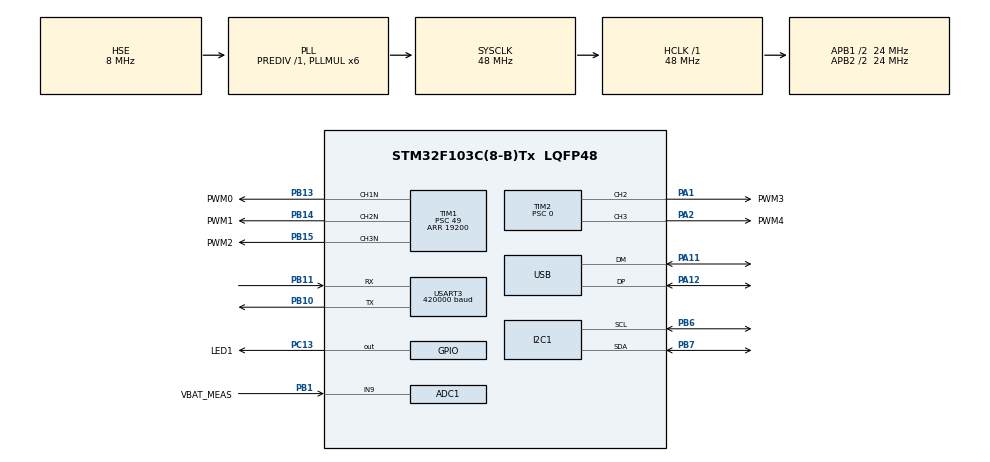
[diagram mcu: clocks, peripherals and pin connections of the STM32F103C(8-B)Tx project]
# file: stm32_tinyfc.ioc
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ADC1.Channel-1\#ChannelRegularConversion=ADC_CHANNEL_9
ADC1.NbrOfConversionFlag=1
ADC1.Rank-1\#ChannelRegularConversion=1
ADC1.SamplingTime-1\#ChannelRegularConversion=ADC_SAMPLETIME_1CYCLE_5
ADC1.master=1
I2C1.I2C_Mode=I2C_Fast
Mcu.Family=STM32F1
Mcu.Name=STM32F103C(8-B)Tx
Mcu.Package=LQFP48
NVIC.PriorityGroup=NVIC_PRIORITYGROUP_4
NVIC.USART3_IRQn=true\:0\:0\:false\:false\:true\:true\:true\:true
NVIC.USB_LP_CAN1_RX0_IRQn=true\:0\:0\:false\:false\:true\:false\:true\:true
PA1.GPIO_Label=PWM3
PA1.Signal=S_TIM2_CH2
PA11.Mode=Device
PA11.Signal=USB_DM
PA12.Mode=Device
PA12.Signal=USB_DP
PA13.Mode=Serial_Wire
PA13.Signal=SYS_JTMS-SWDIO
PA14.Mode=Serial_Wire
PA14.Signal=SYS_JTCK-SWCLK
PA2.GPIO_Label=PWM4
PA2.Signal=S_TIM2_CH3
PB1.GPIO_Label=VBAT_MEAS
PB1.Signal=ADCx_IN9
PB10.Mode=Asynchronous
PB10.Signal=USART3_TX
PB11.Mode=Asynchronous
PB11.Signal=USART3_RX
PB13.GPIO_Label=PWM0
PB13.Mode=PWM Generation1 CH1N
PB13.Signal=TIM1_CH1N
PB14.GPIO_Label=PWM1
PB14.Mode=PWM Generation2 CH2N
PB14.Signal=TIM1_CH2N
PB15.GPIO_Label=PWM2
PB15.Mode=PWM Generation3 CH3N
PB15.Signal=TIM1_CH3N
PB6.Mode=I2C
PB6.Signal=I2C1_SCL
PB7.Mode=I2C
PB7.Signal=I2C1_SDA
PC13-TAMPER-RTC.GPIO_Label=LED1
PC13-TAMPER-RTC.GPIO_PuPd=GPIO_PULLDOWN
PC13-TAMPER-RTC.Signal=GPIO_Output
PD0-OSC_IN.Mode=HSE-External-Oscillator
PD0-OSC_IN.Signal=RCC_OSC_IN
PD1-OSC_OUT.Mode=HSE-External-Oscillator
PD1-OSC_OUT.Signal=RCC_OSC_OUT
ProjectManager.HeapSize=0x200
ProjectManager.StackSize=0x400
ProjectManager.TargetToolchain=CMake
RCC.AHBFreq_Value=48000000
RCC.APB1CLKDivider=RCC_HCLK_DIV2
RCC.APB1Freq_Value=24000000
RCC.APB1TimFreq_Value=48000000
RCC.APB2CLKDivider=RCC_HCLK_DIV2
RCC.APB2Freq_Value=24000000
RCC.APB2TimFreq_Value=48000000
RCC.HCLKFreq_Value=48000000
RCC.HSICalibrationValue=8
RCC.PLLMUL=RCC_PLL_MUL6
RCC.SYSCLKFreq_VALUE=48000000
RCC.SYSCLKSource=RCC_SYSCLKSOURCE_PLLCLK
RCC.USBFreq_Value=48000000
SH.ADCx_IN9.0=ADC1_IN9,IN9
SH.S_TIM2_CH2.0=TIM2_CH2,PWM Generation2 CH2
SH.S_TIM2_CH3.0=TIM2_CH3,PWM Generation3 CH3
TIM1.Channel-PWM\ Generation1\ CH1N=TIM_CHANNEL_1
TIM1.Channel-PWM\ Generation2\ CH2N=TIM_CHANNEL_2
TIM1.Channel-PWM\ Generation3\ CH3N=TIM_CHANNEL_3
TIM1.Period=19200
TIM1.Prescaler=49
TIM1.Pulse-PWM\ Generation1\ CH1N=1920
TIM1.Pulse-PWM\ Generation2\ CH2N=1920
TIM1.Pulse-PWM\ Generation3\ CH3N=1920
TIM2.Channel-PWM\ Generation2\ CH2=TIM_CHANNEL_2
TIM2.Channel-PWM\ Generation3\ CH3=TIM_CHANNEL_3
TIM2.Period=23999
TIM2.Prescaler=0
TIM2.Pulse-PWM\ Generation2\ CH2=6000
TIM2.Pulse-PWM\ Generation3\ CH3=600
USART3.BaudRate=420000
USART3.VirtualMode=VM_ASYNC
USB_DEVICE.CLASS_NAME_FS=CDC
USB_DEVICE.USBD_SELF_POWERED=0
USB_DEVICE.VirtualMode=Cdc
USB_DEVICE.VirtualModeFS=Cdc_FS
VP_TIM1_VS_ClockSourceINT.Mode=Internal
VP_TIM2_VS_ClockSourceINT.Mode=Internal
VP_TIM3_VS_ClockSourceINT.Mode=Internal
VP_USB_DEVICE_VS_USB_DEVICE_CDC_FS.Mode=CDC_FS
board=custom

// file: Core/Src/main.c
/* USER CODE BEGIN Header */
/**
  ******************************************************************************
  * @file           : main.c
  * @brief          : Main program body
  ******************************************************************************
  * @attention
  *
  * Copyright (c) 2026 STMicroelectronics.
  * All rights reserved.
  *
  * This software is licensed under terms that can be found in the LICENSE file
  * in the root directory of this software component.
  * If no LICENSE file comes with this software, it is provided AS-IS.
  *
  ******************************************************************************
  */
/* USER CODE END Header */
#include "main.h"
#include "usb_device.h"

/* USER CODE BEGIN Includes */
#include <stdint.h>
#include <math.h>
#include <stdbool.h>

#include "main_conf.h"
#include "tinyfc_types.h"
#include "crsf.h"
#include "crsf_parser.h"
#include "heli_mixer.h"
#include "usbd_cdc_if.h"
#include "utils.h"
/* USER CODE END Includes */

/* USER CODE BEGIN PTD */
typedef struct {
  uint8_t buffer[UART3_RX_BUFFER_SIZE];
  volatile uint16_t head;
  volatile uint16_t tail;
} uart_buffer_t;

enum pit_mode_t {
  PIT_MODE_OFF = 0,
  PIT_MODE_ON = 1,
} pit_mode = PIT_MODE_OFF;

enum led_state_t {
  LED_STATE_OFF = 0,
  LED_STATE_ON = 1,
} status_led_state = LED_STATE_OFF;

enum led_blink_state_t {
  LED_BLINK_WAITING = 0,
  LED_BLINK_PRE_OFF = 1,
  LED_BLINK_ON = 2,
  LED_BLINK_POST_OFF = 3,
} led_blink_state = LED_BLINK_WAITING;
/* USER CODE END PTD */

ADC_HandleTypeDef hadc1;

I2C_HandleTypeDef hi2c1;

TIM_HandleTypeDef htim1;
TIM_HandleTypeDef htim2;
TIM_HandleTypeDef htim3;

UART_HandleTypeDef huart3;

/* USER CODE BEGIN PV */
crsf_parser_t crsf_parser;
uart_buffer_t uart3_rb = {0};
uint8_t *uart3_rx_char;

crsf_frame_link_stats_t radio_link_stats;
uint32_t radio_link_stats_last_update = UINT32_MAX;

uint16_t received_crsf_channels[CRSF_CHANNEL_COUNT];
 int16_t mixer_input_channels[MIXER_INPUT_CHANNEL_COUNT];
uint16_t output_actuator_channels[ACTUATOR_CHANNEL_COUNT];

int16_t previous_rotor_throttle = -NORM_RANGE;

enum flight_mode_t flight_mode = FLIGHT_MODE_DIRECT;

uint8_t armed = false;
uint8_t pre_armed = false;
uint8_t arm_blocked = true;

uint8_t led_blinks = 0;
uint32_t led_blink_time_next_change = 0;

/* USER CODE END PV */

void SystemClock_Config(void);
static void MX_GPIO_Init(void);
static void MX_TIM2_Init(void);
static void MX_USART3_UART_Init(void);
static void MX_TIM3_Init(void);
static void MX_ADC1_Init(void);
static void MX_TIM1_Init(void);
static void MX_I2C1_Init(void);
/* USER CODE BEGIN PFP */
void enable_status_led();
void disable_status_led();
void set_status_led(enum led_state_t state);
void add_blinks(uint8_t blinks);
void send_debug_message(char *name, uint8_t name_length, uint8_t id, int16_t value);
void set_PWM0_duty(uint16_t duty_cycle_hundredths);
void set_PWM1_duty(uint16_t duty_cycle_hundredths);
void set_PWM2_duty(uint16_t duty_cycle_hundredths);
void set_PWM3_duty(uint16_t pulse);
void set_PWM4_duty(uint16_t pulse);
//uint16_t get_PWM0_duty();
//uint16_t get_PWM1_duty();
//uint16_t get_PWM2_duty();
//uint16_t get_PWM3_duty();
//uint16_t get_PWM4_duty();
void update_PWM();
void update_Oneshot125();
void on_crsf_frame(uint8_t type,
                   uint8_t dest_addr, // 0 for non-extended frames
                   uint8_t orig_addr, // 0 for non-extended frames
                   const uint8_t *payload,
                   uint8_t payload_len);
/* USER CODE END PFP */

int main(void)
{

  /* MCU Configuration--------------------------------------------------------*/

  /* Reset of all peripherals, Initializes the Flash interface and the Systick. */
  HAL_Init();

  /* Configure the system clock */
  SystemClock_Config();

  /* Initialize all configured peripherals */
  MX_GPIO_Init();
  MX_TIM2_Init();
  MX_USART3_UART_Init();
  MX_USB_DEVICE_Init();
  MX_TIM3_Init();
  MX_ADC1_Init();
  MX_TIM1_Init();
  MX_I2C1_Init();
  /* USER CODE BEGIN 2 */
  set_status_led(LED_STATE_OFF);

  set_PWM0_duty(PWM_MID);
  set_PWM1_duty(PWM_MID);
  set_PWM2_duty(PWM_MID);
  set_PWM3_duty(ONESHOT125_DISARMED);
  set_PWM4_duty(ONESHOT125_DISARMED);

  HAL_TIM_PWM_Start(&htim1, TIM_CHANNEL_1);
  HAL_TIM_PWM_Start(&htim1, TIM_CHANNEL_2);
  HAL_TIM_PWM_Start(&htim1, TIM_CHANNEL_3);

  HAL_TIMEx_PWMN_Start(&htim1, TIM_CHANNEL_1);
  HAL_TIMEx_PWMN_Start(&htim1, TIM_CHANNEL_2);
  HAL_TIMEx_PWMN_Start(&htim1, TIM_CHANNEL_3);

  HAL_TIM_PWM_Start(&htim2, TIM_CHANNEL_2);
  HAL_TIM_PWM_Start(&htim2, TIM_CHANNEL_3);

  crsf_parser_init(&crsf_parser, CRSF_ADDRESS_FC, on_crsf_frame);

  uart3_rx_char = (uint8_t *)malloc(8);
  HAL_UART_Receive_IT(&huart3, uart3_rx_char, 8);

  uint32_t last_pwm_update = HAL_GetTick();

  memset(received_crsf_channels, 0, sizeof(received_crsf_channels));

  output_actuator_channels[ACTUATOR_SWASH_LEFT]  = PWM_MID;
  output_actuator_channels[ACTUATOR_SWASH_RIGHT] = PWM_MID;
  output_actuator_channels[ACTUATOR_SWASH_AFT]   = PWM_MID;
  output_actuator_channels[ACTUATOR_MAIN_ROTOR]  = ONESHOT125_DISARMED;
  output_actuator_channels[ACTUATOR_TAIL_ROTOR]  = ONESHOT125_DISARMED;

  uint8_t init_msg[] = "HELI FC Started up!\r\n";
  CDC_Transmit_FS(init_msg, sizeof(init_msg) - 1);

  add_blinks(2);
  /* USER CODE END 2 */

  /* Infinite loop */
  /* USER CODE BEGIN WHILE */

  // ReSharper disable once CppDFAEndlessLoop
  while (1) {

    const uint32_t current_tick = HAL_GetTick();

    // Process received data from CSRF/UART3
    if (uart3_rb.head != uart3_rb.tail)
    {
      const uint16_t available = (uart3_rb.head - uart3_rb.tail + UART3_RX_BUFFER_SIZE) % UART3_RX_BUFFER_SIZE;

      if (available > 0)
      {
        uint8_t temp_buffer[UART3_RX_BUFFER_SIZE];
        uint16_t read_len = 0;

        // Extract data from ring buffer
        while (uart3_rb.tail != uart3_rb.head && read_len < available)
        {
          temp_buffer[read_len++] = uart3_rb.buffer[uart3_rb.tail];
          uart3_rb.tail = (uart3_rb.tail + 1) % UART3_RX_BUFFER_SIZE;
        }

        // Feed to CRSF parser
        crsf_parser_feed(&crsf_parser, temp_buffer, read_len);
      }
    }

    // Handle periodic PWM update
    if (current_tick - last_pwm_update > PWM_UPDATE_PERIOD_MS) {
      last_pwm_update = current_tick;
      update_mixer(mixer_input_channels, output_actuator_channels, flight_mode);
      update_PWM();
      update_Oneshot125();
    }

    // Handle LED blinking
    switch (led_blink_state) {
      default:
      case LED_BLINK_WAITING:
        if (led_blinks > 0) {
          led_blinks--;
          led_blink_state = LED_BLINK_PRE_OFF;
          set_status_led(LED_STATE_OFF);
          led_blink_time_next_change = current_tick + BLINK_TIME;
        }
        break;
      case LED_BLINK_PRE_OFF:
        if (current_tick >= led_blink_time_next_change) {
          led_blink_state = LED_BLINK_ON;
          set_status_led(LED_STATE_ON);
          led_blink_time_next_change = current_tick + BLINK_TIME * 2;
        }
        break;
      case LED_BLINK_ON:
        if (current_tick >= led_blink_time_next_change) {
          led_blink_state = LED_BLINK_POST_OFF;
          set_status_led(LED_STATE_OFF);
          led_blink_time_next_change = current_tick + BLINK_TIME;
        }
        break;
      case LED_BLINK_POST_OFF:
        if (current_tick >= led_blink_time_next_change) {
          led_blink_state = LED_BLINK_WAITING;
          set_status_led(status_led_state);
        }
        break;
    }

    if (arm_blocked) {
      if (led_blinks == 0) { led_blinks = 1; }
    }

//    if (current_tick % 1000 == 0) {
//      CDC_Transmit_FS((uint8_t *)"DEBUG", 5);
//
//      for (uint8_t i = 0; i < CRSF_CHANNEL_COUNT; i++) {
//        send_debug_message("RADIO", 5, i, (int16_t) received_crsf_channels[i]);
//      }
//      for (uint8_t i = 0; i < PWM_CHANNEL_COUNT; i++) {
//        send_debug_message("PWM  ", 5, i, (int16_t) current_pwm_channels[i]);
//      }
//
//      send_debug_message("LINK LASTMES", 12, 0, (int16_t) (current_tick - radio_link_stats_last_update));
//      send_debug_message("LINK SNR UP ", 12, 1, (int16_t) radio_link_stats.snr_uplink_db);
//      send_debug_message("LINK RSS UP1", 12, 2, (int16_t) radio_link_stats.rssi_uplink_ant1_dbm);
//      send_debug_message("LINK RSS UP2", 12, 3, (int16_t) radio_link_stats.rssi_uplink_ant2_dbm);
//      send_debug_message("LINK QLY UP ", 12, 4, (int16_t) radio_link_stats.link_quality_percentage_uplink);
//      send_debug_message("LINK SNR DW ", 12, 5, (int16_t) radio_link_stats.snr_downlink_db);
//      send_debug_message("LINK RSS DW ", 12, 6, (int16_t) radio_link_stats.rssi_downlink_dbm);
//      send_debug_message("LINK QLY DW ", 12, 7, (int16_t) radio_link_stats.link_quality_percentage_downlink);
//
//      send_debug_message("ARMED", 5, 0, (int16_t) armed);
//      send_debug_message("BLOCK", 5, 1, (int16_t) arm_blocked);
//
//      CDC_Transmit_FS((uint8_t *)"\r\n\r\n\r\n", 6);
//
//    }
    /* USER CODE END WHILE */

  }
}

void SystemClock_Config(void)
{
  RCC_OscInitTypeDef RCC_OscInitStruct = {0};
  RCC_ClkInitTypeDef RCC_ClkInitStruct = {0};
  RCC_PeriphCLKInitTypeDef PeriphClkInit = {0};

  /** Initializes the RCC Oscillators according to the specified parameters
  * in the RCC_OscInitTypeDef structure.
  */
  RCC_OscInitStruct.OscillatorType = RCC_OSCILLATORTYPE_HSE;
  RCC_OscInitStruct.HSEState = RCC_HSE_ON;
  RCC_OscInitStruct.HSEPredivValue = RCC_HSE_PREDIV_DIV1;
  RCC_OscInitStruct.HSIState = RCC_HSI_ON;
  RCC_OscInitStruct.PLL.PLLState = RCC_PLL_ON;
  RCC_OscInitStruct.PLL.PLLSource = RCC_PLLSOURCE_HSE;
  RCC_OscInitStruct.PLL.PLLMUL = RCC_PLL_MUL6;
  if (HAL_RCC_OscConfig(&RCC_OscInitStruct) != HAL_OK)
  {
    Error_Handler();
  }

  /** Initializes the CPU, AHB and APB buses clocks
  */
  RCC_ClkInitStruct.ClockType = RCC_CLOCKTYPE_HCLK|RCC_CLOCKTYPE_SYSCLK
                              |RCC_CLOCKTYPE_PCLK1|RCC_CLOCKTYPE_PCLK2;
  RCC_ClkInitStruct.SYSCLKSource = RCC_SYSCLKSOURCE_PLLCLK;
  RCC_ClkInitStruct.AHBCLKDivider = RCC_SYSCLK_DIV1;
  RCC_ClkInitStruct.APB1CLKDivider = RCC_HCLK_DIV2;
  RCC_ClkInitStruct.APB2CLKDivider = RCC_HCLK_DIV2;

  if (HAL_RCC_ClockConfig(&RCC_ClkInitStruct, FLASH_LATENCY_1) != HAL_OK)
  {
    Error_Handler();
  }
  PeriphClkInit.PeriphClockSelection = RCC_PERIPHCLK_ADC|RCC_PERIPHCLK_USB;
  PeriphClkInit.AdcClockSelection = RCC_ADCPCLK2_DIV2;
  PeriphClkInit.UsbClockSelection = RCC_USBCLKSOURCE_PLL;
  if (HAL_RCCEx_PeriphCLKConfig(&PeriphClkInit) != HAL_OK)
  {
    Error_Handler();
  }
}

static void MX_ADC1_Init(void)
{

  ADC_ChannelConfTypeDef sConfig = {0};

  /** Common config
  */
  hadc1.Instance = ADC1;
  hadc1.Init.ScanConvMode = ADC_SCAN_DISABLE;
  hadc1.Init.ContinuousConvMode = DISABLE;
  hadc1.Init.DiscontinuousConvMode = DISABLE;
  hadc1.Init.ExternalTrigConv = ADC_SOFTWARE_START;
  hadc1.Init.DataAlign = ADC_DATAALIGN_RIGHT;
  hadc1.Init.NbrOfConversion = 1;
  if (HAL_ADC_Init(&hadc1) != HAL_OK)
  {
    Error_Handler();
  }

  /** Configure Regular Channel
  */
  sConfig.Channel = ADC_CHANNEL_9;
  sConfig.Rank = ADC_REGULAR_RANK_1;
  sConfig.SamplingTime = ADC_SAMPLETIME_1CYCLE_5;
  if (HAL_ADC_ConfigChannel(&hadc1, &sConfig) != HAL_OK)
  {
    Error_Handler();
  }

}

static void MX_I2C1_Init(void)
{

  hi2c1.Instance = I2C1;
  hi2c1.Init.ClockSpeed = 400000;
  hi2c1.Init.DutyCycle = I2C_DUTYCYCLE_2;
  hi2c1.Init.OwnAddress1 = 0;
  hi2c1.Init.AddressingMode = I2C_ADDRESSINGMODE_7BIT;
  hi2c1.Init.DualAddressMode = I2C_DUALADDRESS_DISABLE;
  hi2c1.Init.OwnAddress2 = 0;
  hi2c1.Init.GeneralCallMode = I2C_GENERALCALL_DISABLE;
  hi2c1.Init.NoStretchMode = I2C_NOSTRETCH_DISABLE;
  if (HAL_I2C_Init(&hi2c1) != HAL_OK)
  {
    Error_Handler();
  }

}

static void MX_TIM1_Init(void)
{

  TIM_ClockConfigTypeDef sClockSourceConfig = {0};
  TIM_MasterConfigTypeDef sMasterConfig = {0};
  TIM_OC_InitTypeDef sConfigOC = {0};
  TIM_BreakDeadTimeConfigTypeDef sBreakDeadTimeConfig = {0};

  htim1.Instance = TIM1;
  htim1.Init.Prescaler = 49;
  htim1.Init.CounterMode = TIM_COUNTERMODE_UP;
  htim1.Init.Period = 19200;
  htim1.Init.ClockDivision = TIM_CLOCKDIVISION_DIV1;
  htim1.Init.RepetitionCounter = 0;
  htim1.Init.AutoReloadPreload = TIM_AUTORELOAD_PRELOAD_DISABLE;
  if (HAL_TIM_Base_Init(&htim1) != HAL_OK)
  {
    Error_Handler();
  }
  sClockSourceConfig.ClockSource = TIM_CLOCKSOURCE_INTERNAL;
  if (HAL_TIM_ConfigClockSource(&htim1, &sClockSourceConfig) != HAL_OK)
  {
    Error_Handler();
  }
  if (HAL_TIM_PWM_Init(&htim1) != HAL_OK)
  {
    Error_Handler();
  }
  sMasterConfig.MasterOutputTrigger = TIM_TRGO_RESET;
  sMasterConfig.MasterSlaveMode = TIM_MASTERSLAVEMODE_DISABLE;
  if (HAL_TIMEx_MasterConfigSynchronization(&htim1, &sMasterConfig) != HAL_OK)
  {
    Error_Handler();
  }
  sConfigOC.OCMode = TIM_OCMODE_PWM1;
  sConfigOC.Pulse = 1920;
  sConfigOC.OCPolarity = TIM_OCPOLARITY_HIGH;
  sConfigOC.OCNPolarity = TIM_OCNPOLARITY_HIGH;
  sConfigOC.OCFastMode = TIM_OCFAST_DISABLE;
  sConfigOC.OCIdleState = TIM_OCIDLESTATE_RESET;
  sConfigOC.OCNIdleState = TIM_OCNIDLESTATE_RESET;
  if (HAL_TIM_PWM_ConfigChannel(&htim1, &sConfigOC, TIM_CHANNEL_1) != HAL_OK)
  {
    Error_Handler();
  }
  if (HAL_TIM_PWM_ConfigChannel(&htim1, &sConfigOC, TIM_CHANNEL_2) != HAL_OK)
  {
    Error_Handler();
  }
  if (HAL_TIM_PWM_ConfigChannel(&htim1, &sConfigOC, TIM_CHANNEL_3) != HAL_OK)
  {
    Error_Handler();
  }
  sBreakDeadTimeConfig.OffStateRunMode = TIM_OSSR_DISABLE;
  sBreakDeadTimeConfig.OffStateIDLEMode = TIM_OSSI_DISABLE;
  sBreakDeadTimeConfig.LockLevel = TIM_LOCKLEVEL_OFF;
  sBreakDeadTimeConfig.DeadTime = 0;
  sBreakDeadTimeConfig.BreakState = TIM_BREAK_DISABLE;
  sBreakDeadTimeConfig.BreakPolarity = TIM_BREAKPOLARITY_HIGH;
  sBreakDeadTimeConfig.AutomaticOutput = TIM_AUTOMATICOUTPUT_DISABLE;
  if (HAL_TIMEx_ConfigBreakDeadTime(&htim1, &sBreakDeadTimeConfig) != HAL_OK)
  {
    Error_Handler();
  }
  HAL_TIM_MspPostInit(&htim1);

}

static void MX_TIM2_Init(void)
{

  TIM_ClockConfigTypeDef sClockSourceConfig = {0};
  TIM_MasterConfigTypeDef sMasterConfig = {0};
  TIM_OC_InitTypeDef sConfigOC = {0};

  htim2.Instance = TIM2;
  htim2.Init.Prescaler = 0;
  htim2.Init.CounterMode = TIM_COUNTERMODE_UP;
  htim2.Init.Period = 23999;
  htim2.Init.ClockDivision = TIM_CLOCKDIVISION_DIV1;
  htim2.Init.AutoReloadPreload = TIM_AUTORELOAD_PRELOAD_DISABLE;
  if (HAL_TIM_Base_Init(&htim2) != HAL_OK)
  {
    Error_Handler();
  }
  sClockSourceConfig.ClockSource = TIM_CLOCKSOURCE_INTERNAL;
  if (HAL_TIM_ConfigClockSource(&htim2, &sClockSourceConfig) != HAL_OK)
  {
    Error_Handler();
  }
  if (HAL_TIM_PWM_Init(&htim2) != HAL_OK)
  {
    Error_Handler();
  }
  sMasterConfig.MasterOutputTrigger = TIM_TRGO_RESET;
  sMasterConfig.MasterSlaveMode = TIM_MASTERSLAVEMODE_DISABLE;
  if (HAL_TIMEx_MasterConfigSynchronization(&htim2, &sMasterConfig) != HAL_OK)
  {
    Error_Handler();
  }
  sConfigOC.OCMode = TIM_OCMODE_PWM1;
  sConfigOC.Pulse = 6000;
  sConfigOC.OCPolarity = TIM_OCPOLARITY_HIGH;
  sConfigOC.OCFastMode = TIM_OCFAST_DISABLE;
  if (HAL_TIM_PWM_ConfigChannel(&htim2, &sConfigOC, TIM_CHANNEL_2) != HAL_OK)
  {
    Error_Handler();
  }
  sConfigOC.Pulse = 600;
  if (HAL_TIM_PWM_ConfigChannel(&htim2, &sConfigOC, TIM_CHANNEL_3) != HAL_OK)
  {
    Error_Handler();
  }
  HAL_TIM_MspPostInit(&htim2);

}

static void MX_TIM3_Init(void)
{

  TIM_ClockConfigTypeDef sClockSourceConfig = {0};
  TIM_MasterConfigTypeDef sMasterConfig = {0};

  htim3.Instance = TIM3;
  htim3.Init.Prescaler = 0;
  htim3.Init.CounterMode = TIM_COUNTERMODE_UP;
  htim3.Init.Period = 65535;
  htim3.Init.ClockDivision = TIM_CLOCKDIVISION_DIV1;
  htim3.Init.AutoReloadPreload = TIM_AUTORELOAD_PRELOAD_DISABLE;
  if (HAL_TIM_Base_Init(&htim3) != HAL_OK)
  {
    Error_Handler();
  }
  sClockSourceConfig.ClockSource = TIM_CLOCKSOURCE_INTERNAL;
  if (HAL_TIM_ConfigClockSource(&htim3, &sClockSourceConfig) != HAL_OK)
  {
    Error_Handler();
  }
  sMasterConfig.MasterOutputTrigger = TIM_TRGO_RESET;
  sMasterConfig.MasterSlaveMode = TIM_MASTERSLAVEMODE_DISABLE;
  if (HAL_TIMEx_MasterConfigSynchronization(&htim3, &sMasterConfig) != HAL_OK)
  {
    Error_Handler();
  }

}

static void MX_USART3_UART_Init(void)
{

  huart3.Instance = USART3;
  huart3.Init.BaudRate = 420000;
  huart3.Init.WordLength = UART_WORDLENGTH_8B;
  huart3.Init.StopBits = UART_STOPBITS_1;
  huart3.Init.Parity = UART_PARITY_NONE;
  huart3.Init.Mode = UART_MODE_TX_RX;
  huart3.Init.HwFlowCtl = UART_HWCONTROL_NONE;
  huart3.Init.OverSampling = UART_OVERSAMPLING_16;
  if (HAL_UART_Init(&huart3) != HAL_OK)
  {
    Error_Handler();
  }

}

static void MX_GPIO_Init(void)
{
  GPIO_InitTypeDef GPIO_InitStruct = {0};

  /* GPIO Ports Clock Enable */
  __HAL_RCC_GPIOC_CLK_ENABLE();
  __HAL_RCC_GPIOD_CLK_ENABLE();
  __HAL_RCC_GPIOA_CLK_ENABLE();
  __HAL_RCC_GPIOB_CLK_ENABLE();

  /*Configure GPIO pin Output Level */
  HAL_GPIO_WritePin(LED1_GPIO_Port, LED1_Pin, GPIO_PIN_RESET);

  /*Configure GPIO pin : LED1_Pin */
  GPIO_InitStruct.Pin = LED1_Pin;
  GPIO_InitStruct.Mode = GPIO_MODE_OUTPUT_PP;
  GPIO_InitStruct.Pull = GPIO_PULLDOWN;
  GPIO_InitStruct.Speed = GPIO_SPEED_FREQ_LOW;
  HAL_GPIO_Init(LED1_GPIO_Port, &GPIO_InitStruct);

}

/* USER CODE BEGIN 4 */
// LED FUNCTIONS
void enable_status_led() {
  status_led_state = LED_STATE_ON;
  set_status_led(status_led_state);
}
void disable_status_led() {
  status_led_state = LED_STATE_OFF;
  set_status_led(status_led_state);
}
void set_status_led(enum led_state_t state) {
  if (state == LED_STATE_ON) {
    HAL_GPIO_WritePin(LED1_GPIO_Port, LED1_Pin, GPIO_PIN_RESET);
  } else {
    HAL_GPIO_WritePin(LED1_GPIO_Port, LED1_Pin, GPIO_PIN_SET);
  }
}
void add_blinks(const uint8_t blinks) {
  led_blinks += blinks;
}

// DEBUG USB
void send_debug_message(char *name, const uint8_t name_length, const uint8_t id, const int16_t value) {
  uint8_t *message = malloc(name_length + 2 + 3 + 3 + 5 + 2);
  sprintf((char *)message, "%s (%u): %d\r\n", name, id, value);
  CDC_Transmit_FS(message, name_length + 2 + 3 + 5 + 2);
  free(message);
}

/**
  * PWM FUNCTIONS
  * @brief Set PWM duty cycle with 0.01% resolution
  * @param duty_cycle_hundredths: Duty cycle in hundredths of a percent (e.g., 1000 = 10.00%)
  * @retval None
  */
void set_PWM0_duty(const uint16_t duty_cycle_hundredths)
{
  const uint32_t pulse = (19200UL * duty_cycle_hundredths) / 10000UL;
  __HAL_TIM_SET_COMPARE(&htim1, TIM_CHANNEL_1, 19200UL - pulse);
}
void set_PWM1_duty(const uint16_t duty_cycle_hundredths)
{
  const uint32_t pulse = (19200UL * duty_cycle_hundredths) / 10000UL;
  __HAL_TIM_SET_COMPARE(&htim1, TIM_CHANNEL_2, 19200UL - pulse);
}
void set_PWM2_duty(const uint16_t duty_cycle_hundredths)
{
  const uint32_t pulse = (19200UL * duty_cycle_hundredths) / 10000UL;
  __HAL_TIM_SET_COMPARE(&htim1, TIM_CHANNEL_3, 19200UL - pulse);
}
void set_PWM3_duty(const uint16_t pulse)
{
  __HAL_TIM_SET_COMPARE(&htim2, TIM_CHANNEL_2, (uint32_t) pulse);
}
void set_PWM4_duty(const uint16_t pulse)
{
  __HAL_TIM_SET_COMPARE(&htim2, TIM_CHANNEL_3, (uint32_t) pulse);
}
//uint16_t get_PWM0_duty()
//{
//  uint16_t pulse = (10000UL * __HAL_TIM_GET_COMPARE(&htim2, TIM_CHANNEL_2)) / 19200UL;
//  return pulse;
//}
//uint16_t get_PWM1_duty()
//{
//  uint16_t pulse = (10000UL * __HAL_TIM_GET_COMPARE(&htim2, TIM_CHANNEL_3)) / 19200UL;
//  return pulse;
//}
//uint16_t get_PWM2_duty()
//{
//  uint16_t pulse = (10000UL * __HAL_TIM_GET_COMPARE(&htim2, TIM_CHANNEL_4)) / 19200UL;
//  return pulse;
//}
//uint16_t get_PWM3_duty()
//{
//  uint16_t pulse = (10000UL * __HAL_TIM_GET_COMPARE(&htim3, TIM_CHANNEL_1)) / 19200UL;
//  return pulse;
//}
//uint16_t get_PWM4_duty()
//{
//  uint16_t pulse = (10000UL * __HAL_TIM_GET_COMPARE(&htim3, TIM_CHANNEL_2)) / 19200UL;
//  return pulse;
//}

void update_PWM() {

  // LIMITS
  for (uint8_t i = 0; i < PWM_CHANNEL_COUNT; i++) {
    if (output_actuator_channels[i] < PWM_MIN) { output_actuator_channels[i] = PWM_MIN; }
    if (output_actuator_channels[i] > PWM_MAX) { output_actuator_channels[i] = PWM_MAX; }
  }

  // SWASHPLATE SERVOS
  set_PWM0_duty(output_actuator_channels[ACTUATOR_SWASH_LEFT]);
  set_PWM1_duty(output_actuator_channels[ACTUATOR_SWASH_RIGHT]);
  set_PWM2_duty(output_actuator_channels[ACTUATOR_SWASH_AFT]);

}

void update_Oneshot125() {

  // LIMITS
  for (uint8_t i = PWM_CHANNEL_COUNT - 1; i < OS1_CHANNEL_COUNT; i++) {
    if (output_actuator_channels[i] < ONESHOT125_MIN) { output_actuator_channels[i] = ONESHOT125_MIN; }
    if (output_actuator_channels[i] > ONESHOT125_MAX) { output_actuator_channels[i] = ONESHOT125_MAX; }
  }

  if (armed) {
    set_PWM3_duty(output_actuator_channels[ACTUATOR_MAIN_ROTOR]);
    set_PWM4_duty(output_actuator_channels[ACTUATOR_TAIL_ROTOR]);
  } else {
    set_PWM3_duty(ONESHOT125_DISARMED);
    set_PWM4_duty(ONESHOT125_DISARMED);
  }
}

uint8_t ready_to_arm() {

  if (received_crsf_channels[CRSF_CHANNEL_THROTTLE] > CRSF_MIN + 50) {
    arm_blocked = true;
  }

  if (   radio_link_stats_last_update > HAL_GetTick()
      || radio_link_stats_last_update + MAX_RADIO_STATS_AGE < HAL_GetTick()) {
    arm_blocked = true;
  } else {
    if (radio_link_stats.link_quality_percentage_uplink < MIN_LINK_QLY) {
      arm_blocked = true;
    }
  }

  return !arm_blocked;
}

void update_channels() {
  // AUXILIARY ACTIONS
  if (received_crsf_channels[CRSF_CHANNEL_PREARM] < CRSF_MID) {
    pre_armed = false;
  }

  if (received_crsf_channels[CRSF_CHANNEL_ARM] <= CRSF_MID) {
    if (armed) {
      armed = false;
      disarm_mixer();
      disable_status_led();
    } else {
      if (received_crsf_channels[CRSF_CHANNEL_PREARM] > CRSF_MID) {
        pre_armed = true;
      }
      if (arm_blocked) {
        arm_blocked = false;
        ready_to_arm();
      }
    }
  } else if (received_crsf_channels[CRSF_CHANNEL_ARM] > CRSF_MID) {
    if (!armed && pre_armed && ready_to_arm()) {
      reset_mixer();
      armed = true;
      enable_status_led();
    }
  }

  if        (   received_crsf_channels[CRSF_CHANNEL_FLIGHT_MODE] <= CRSF_ONE_THIRD) {
    if (flight_mode != FLIGHT_MODE_DIRECT) {
      flight_mode = FLIGHT_MODE_DIRECT;
      add_blinks(1);
    }
  } else if (   received_crsf_channels[CRSF_CHANNEL_FLIGHT_MODE] >  CRSF_ONE_THIRD
             && received_crsf_channels[CRSF_CHANNEL_FLIGHT_MODE] <= CRSF_TWO_THIRD) {
    if (flight_mode != FLIGHT_MODE_RATE) {
      // NOT YET IMPLEMENTED
      add_blinks(5);
      flight_mode = FLIGHT_MODE_RATE;
    }
  } else if (   received_crsf_channels[CRSF_CHANNEL_FLIGHT_MODE] >  CRSF_TWO_THIRD) {
    if (flight_mode != FLIGHT_MODE_ANGLE) {
      // NOT YET IMPLEMENTED
      add_blinks(5);
      flight_mode = FLIGHT_MODE_ANGLE;
    }
  }

  if        (received_crsf_channels[CRSF_CHANNEL_PIT_MODE] <= CRSF_MID) {
    if (pit_mode != PIT_MODE_OFF) {
      pit_mode = PIT_MODE_OFF;
      add_blinks(2);
    }
  } else if (received_crsf_channels[CRSF_CHANNEL_PIT_MODE] > CRSF_MID) {
    if (pit_mode != PIT_MODE_ON) {
      pit_mode = PIT_MODE_ON;
      add_blinks(2);

    }
  }

  // HELI MIXER

  // INPUTS

  mixer_input_channels[INPUT_CHANNEL_LON_CYC] =
  (int16_t) (-1 * (normalize_crsf(received_crsf_channels[CRSF_CHANNEL_LON_CYC]) + ROTOR_LON_TRIM));
  mixer_input_channels[INPUT_CHANNEL_LAT_CYC] =
  (int16_t)       (normalize_crsf(received_crsf_channels[CRSF_CHANNEL_LAT_CYC]) + ROTOR_LAT_TRIM);
  mixer_input_channels[INPUT_CHANNEL_COLLECTIVE] = (int16_t) (normalize_crsf(received_crsf_channels[CRSF_CHANNEL_COLLECTIVE]));
  mixer_input_channels[INPUT_CHANNEL_PEDALS] = (int16_t) (normalize_crsf(received_crsf_channels[CRSF_CHANNEL_PEDALS]));
  mixer_input_channels[INPUT_CHANNEL_THROTTLE] = (int16_t) (normalize_crsf(received_crsf_channels[CRSF_CHANNEL_THROTTLE]));
}

void HAL_UART_RxCpltCallback(UART_HandleTypeDef *huart)
{
  if (huart->Instance == USART3)
  {
    for (uint16_t i = 0; i < 8; i++) {

      // Store received byte in circular buffer
      const uint16_t next_head = (uart3_rb.head + 1) % UART3_RX_BUFFER_SIZE;

      // Check if buffer is not full
      if (next_head != uart3_rb.tail) {
        uart3_rb.buffer[uart3_rb.head] = uart3_rx_char[i];
        uart3_rb.head = next_head;
      }
    }

    // Re-enable reception for next byte
    HAL_UART_Receive_IT(&huart3, uart3_rx_char, 8);
  }
}

void on_crsf_frame(uint8_t type,
                   uint8_t dest_addr, // 0 for non-extended frames
                   uint8_t orig_addr, // 0 for non-extended frames
                   const uint8_t *payload,
                   uint8_t payload_len)
{
  switch (type) {
    case CRSF_FRAME_TYPE_CHN: {
      crsf_frame_channels_t channel_frame;
      crsf_parse_payload_channels(payload, &channel_frame);
      for (uint8_t i = 0; i < CRSF_CHANNEL_COUNT; i++) {
        received_crsf_channels[i] = channel_frame.channels[i];
      }
      update_channels();
      break;
    }
    case CRSF_FRAME_TYPE_LNK: {
      crsf_parse_payload_link_stats(payload, &radio_link_stats);
      radio_link_stats_last_update = HAL_GetTick();
      break;
    }

    default:
      break;

  }

}
/* USER CODE END 4 */

void Error_Handler(void)
{
  /* USER CODE BEGIN Error_Handler_Debug */
  /* User can add his own implementation to report the HAL error return state */
  __disable_irq();
  // ReSharper disable once CppDFAEndlessLoop
  while (1) {
    HAL_GPIO_WritePin(LED1_GPIO_Port, LED1_Pin, GPIO_PIN_SET);
    HAL_Delay(100);
    HAL_GPIO_WritePin(LED1_GPIO_Port, LED1_Pin, GPIO_PIN_RESET);
    HAL_Delay(100);
  }
  /* USER CODE END Error_Handler_Debug */
}
